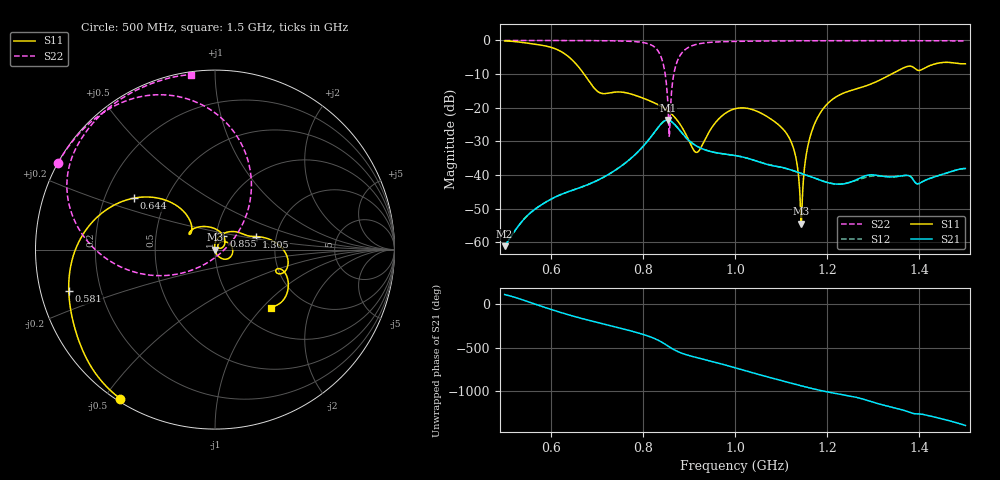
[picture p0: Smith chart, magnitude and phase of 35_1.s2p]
! TOUCHSTONE file generated by CST MICROWAVE STUDIO
! Date and time: Mon Oct 26 12:09:42 2020
! Project name: Scenario_1_Circular_Tissue_out_of_Line_v2.cst
! Parameters = {dy1=242.2; L_HA=400; MT=2.54; Rad_Dielectric=30; Rad_Lower=7.3; Rad_Upper=30; a_HA=580; a_WG=246; b_HA=500; b_WG=121; c_HA=0; c_WG=187; d_feed=85; dx1=173; h_feed=15; h_lower=18; h_upper=40}
! Header version: 2018
! Port assignment regex: !\s*Touchstone port\s*([0-9]+)\s*=\s*(CST MWS port|CST DS port)\s*([0-9]+|Zmin|Zmax)\s*\(\"(.*)\"\)(\s*mode\s*([0-9]+))?.*
! Touchstone port assignment:
! Touchstone port 1 = CST MWS port 1 ("")
! Touchstone port 2 = CST MWS port 2 ("")
# GHz S DB R 50
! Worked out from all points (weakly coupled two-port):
!   1003 points, 500 MHz to 1.5 GHz, reference 50 ohm
!   highest |S21| = -23.64 dB at 854 MHz (marker M1); lowest = -61.1 dB at 500 MHz (marker M2)
!   lowest |S11| = -54.5 dB at 1.144 GHz (marker M3), VSWR 1.00, Z = 49.8 + j0.0127 ohm
!   |S11| at or under -10 dB: 672.4 MHz to 1.339 GHz (666.7 MHz wide, 66.3 % of centre)
!   |S22| runs from -28.5 to 0.0 dB; largest |S21 - S12| = 0.00057
!   S11 on the Smith chart (normalised r, x): 500 MHz: 0.01, -0.55; 581 MHz: 0.08, -0.14; 644 MHz: 0.33, +0.26; 855 MHz: 1.09, +0.17; 1.305 GHz: 1.57, +0.24; 1.5 GHz: 1.37, -1.12
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0.5  -0.14 -122.5  -61.12 108.6  -61.02 108.2  -0.01 151.1
0.581  -1.44 -164.1  -48.74 -28.0  -48.74 -28.0  -0.02 145.5
0.644  -5.46 147.5  -44.66 -131.4  -44.66 -131.4  -0.03 140.5
0.667  -8.99 132.7  -43.56 -164.6  -43.56 -164.6  -0.04 138.3
0.707  -15.56 141.1  -41.20 142.0  -41.20 142.1  -0.07 134.0
0.78  -16.15 126.1  -34.32 43.9  -34.32 43.9  -0.32 120.3
0.834  -19.16 83.0  -25.69 -56.4  -25.69 -56.5  -3.33 82.4
0.846  -20.11 69.5  -24.00 -92.3  -24.01 -92.4  -8.07 59.1
0.854  -20.88 59.5  -23.64 -119.3  -23.65 -119.3  -17.99 31.0
0.855  -20.99 58.2  -23.65 -122.7  -23.66 -122.7  -20.71 22.6
0.86  -21.56 51.7  -23.90 -139.4  -23.91 -139.4  -20.21 -124.4
0.877  -24.15 29.9  -26.23 173.0  -26.23 173.0  -5.42 -169.8
0.917  -33.27 36.6  -31.41 106.6  -31.41 106.6  -1.14 159.6
1  -20.30 5.5  -34.19 -9.5  -34.18 -9.5  -0.28 140.1
1.11  -27.29 -62.3  -37.98 -168.9  -38.04 -169.2  -0.13 128.9
1.13  -33.52 -75.2  -38.87 162.5  -38.85 162.5  -0.11 127.2
1.144  -54.46 176.1  -39.50 143.3  -39.49 143.1  -0.11 126.1
1.167  -26.85 84.7  -40.62 113.0  -40.62 112.9  -0.10 124.2
1.211  -17.56 49.3  -42.53 63.8  -42.53 63.8  -0.09 120.8
1.305  -12.37 17.6  -40.02 -52.6  -40.21 -50.8  -0.09 113.7
1.334  -10.38 11.4  -40.54 -92.5  -40.53 -92.5  -0.08 111.5
1.5  -6.94 -46.3  -38.05 49.9  -38.05 49.9  -0.14 97.8
